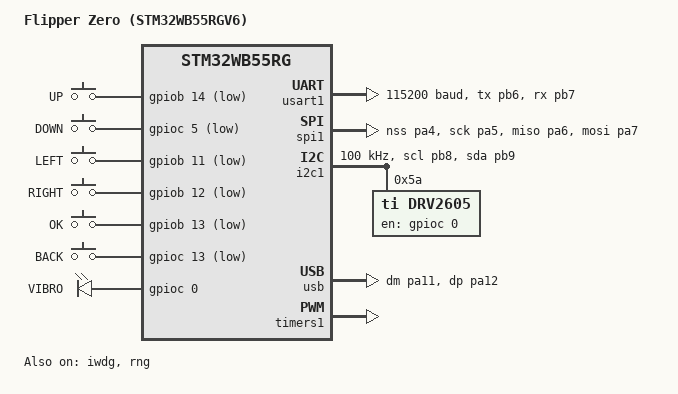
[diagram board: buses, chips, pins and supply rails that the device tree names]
/*
 * Flipper Zero board definition for AkiraOS
 * MCU: STM32WB55RGV6 (ARM Cortex-M4 @ 64 MHz)
 *
 * Copyright (c) 2026 Akira Project
 * SPDX-License-Identifier: Apache-2.0
 *
 * Hardware reference: Flipper Zero open hardware v7.1
 * https://github.com/flipperdevices/flipperzero-hardware
 *
 * NOTE: STM32WB55 top 256 KB of flash (0x0C0000–0x0FFFFF) is reserved
 *       for the M0+ BLE co-processor wireless binary (FUS + BLE stack).
 *       Flash partitions defined in the AkiraOS overlay must not overlap
 *       this area.
 */

/dts-v1/;
#include <st/wb/stm32wb55Xg.dtsi>
#include <st/wb/stm32wb55rgvx-pinctrl.dtsi>
#include <zephyr/dt-bindings/input/input-event-codes.h>

/ {
	model = "Flipper Zero (STM32WB55RGV6)";
	compatible = "flipper,flipper-zero", "st,stm32wb55rg";

	chosen {
		zephyr,sram       = &sram0;
		zephyr,flash      = &flash0;
		zephyr,console    = &usart1;
		zephyr,shell-uart = &usart1;
		/*
		 * BLE UART — STM32WB uses IPCC (Inter-Processor Communication
		 * Controller) for M4↔M0+ signalling; bt-c2h-uart not required
		 * when using CONFIG_BT_STM32WB HCI driver.
		 */
	};

	/* -----------------------------------------------------------------
	 * GPIO buttons — 6 directional/action keys
	 * All lines are active-low with internal pull-up.
	 * ----------------------------------------------------------------- */
	gpio_keys {
		compatible = "gpio-keys";
		status = "okay";

		btn_up: button_up {
			label = "UP";
			gpios = <&gpiob 14 (GPIO_PULL_UP | GPIO_ACTIVE_LOW)>;
			zephyr,code = <INPUT_KEY_UP>;
		};

		btn_down: button_down {
			label = "DOWN";
			gpios = <&gpioc 5 (GPIO_PULL_UP | GPIO_ACTIVE_LOW)>;
			zephyr,code = <INPUT_KEY_DOWN>;
		};

		btn_left: button_left {
			label = "LEFT";
			gpios = <&gpiob 11 (GPIO_PULL_UP | GPIO_ACTIVE_LOW)>;
			zephyr,code = <INPUT_KEY_LEFT>;
		};

		btn_right: button_right {
			label = "RIGHT";
			gpios = <&gpiob 12 (GPIO_PULL_UP | GPIO_ACTIVE_LOW)>;
			zephyr,code = <INPUT_KEY_RIGHT>;
		};

		btn_ok: button_ok {
			label = "OK";
			gpios = <&gpiob 13 (GPIO_PULL_UP | GPIO_ACTIVE_LOW)>;
			zephyr,code = <INPUT_KEY_ENTER>;
		};

		btn_back: button_back {
			label = "BACK";
			gpios = <&gpioc 13 (GPIO_PULL_UP | GPIO_ACTIVE_LOW)>;
			zephyr,code = <INPUT_KEY_ESC>;
		};
	};

	/* -----------------------------------------------------------------
	 * Vibration motor — ERM, driven by GPIO PC0 (active high)
	 * ----------------------------------------------------------------- */
	vibro_motor: vibro-motor {
		compatible = "gpio-leds";
		vibro: vibro_0 {
			label = "VIBRO";
			gpios = <&gpioc 0 GPIO_ACTIVE_HIGH>;
		};
	};

	aliases {
		led0       = &vibro;
		sw0        = &btn_ok;
		sw1        = &btn_back;
		watchdog0  = &iwdg;
	};
};

/* ==========================================================================
 * RCC — Clock tree configuration
 * Flipper Zero uses a 32 MHz HSE crystal (same as Nucleo WB55RG).
 * cpu2-prescaler: M0+ radio core divider (must be set even when BLE f/w
 * manages the M0+ clock; Zephyr DTS binding marks it required).
 * ========================================================================== */
&rcc {
	clocks = <&clk_hse>;
	clock-frequency = <DT_FREQ_M(32)>;
	cpu1-prescaler = <1>;
	cpu2-prescaler = <1>;
	ahb4-prescaler = <1>;
	apb1-prescaler = <1>;
	apb2-prescaler = <1>;
};

/* ==========================================================================
 * USART1 — AkiraOS shell / debug console (TX=PB6, RX=PB7)
 * ========================================================================== */
&usart1 {
	pinctrl-0 = <&usart1_tx_pb6 &usart1_rx_pb7>;
	pinctrl-names = "default";
	current-speed = <115200>;
	status = "okay";
};

/* ==========================================================================
 * SPI1 — ST7565 128×64 display (CS PA4) + CC1101 sub-GHz (CS PB2)
 * SCK=PA5, MISO=PA6, MOSI=PA7; CS lines driven by SPI controller.
 * ========================================================================== */
&spi1 {
	pinctrl-0 = <&spi1_nss_pa4 &spi1_sck_pa5
	             &spi1_miso_pa6 &spi1_mosi_pa7>;
	pinctrl-names = "default";
	cs-gpios = <&gpioa 4 GPIO_ACTIVE_LOW>,   /* CS0: ST7565 display  */
	           <&gpiob 2 GPIO_ACTIVE_LOW>;    /* CS1: CC1101 sub-GHz  */
	status = "okay";
};

/* ==========================================================================
 * I2C1 — DRV2605L haptic motor driver (SCL=PB8, SDA=PB9)
 * ========================================================================== */
&i2c1 {
	pinctrl-0 = <&i2c1_scl_pb8 &i2c1_sda_pb9>;
	pinctrl-names = "default";
	status = "okay";
	clock-frequency = <I2C_BITRATE_STANDARD>;

	/*
	 * TI DRV2605L haptic motor driver — LRA/ERM, I2C addr 0x5A (fixed).
	 */
	drv2605: drv2605@5a {
		compatible = "ti,drv2605";
		reg = <0x5a>;
		actuator-mode = "ERM";
		en-gpios = <&gpioc 0 GPIO_ACTIVE_HIGH>;
	};
};

/* ==========================================================================
 * USB 2.0 Full-Speed — CDC-ACM console (DM=PA11, DP=PA12)
 * zephyr_udc0 alias required by AkiraOS USB manager (USBD_DEVICE_DEFINE)
 * ========================================================================== */
zephyr_udc0: &usb {
	pinctrl-0 = <&usb_dm_pa11 &usb_dp_pa12>;
	pinctrl-names = "default";
	status = "okay";
};

/* ==========================================================================
 * TIM1 CH3 — IR transmitter PWM carrier (38 kHz, PA10)
 * ========================================================================== */
&timers1 {
	status = "okay";

	pwm_ir: pwm {
		status = "okay";
		pinctrl-0 = <&tim1_ch3_pa10>;
		pinctrl-names = "default";
	};
};

/* ==========================================================================
 * Independent Watchdog
 * ========================================================================== */
&iwdg {
	status = "okay";
};

/* ==========================================================================
 * Hardware RNG (entropy source for BLE / crypto)
 * ========================================================================== */
&rng {
	status = "okay";
};
